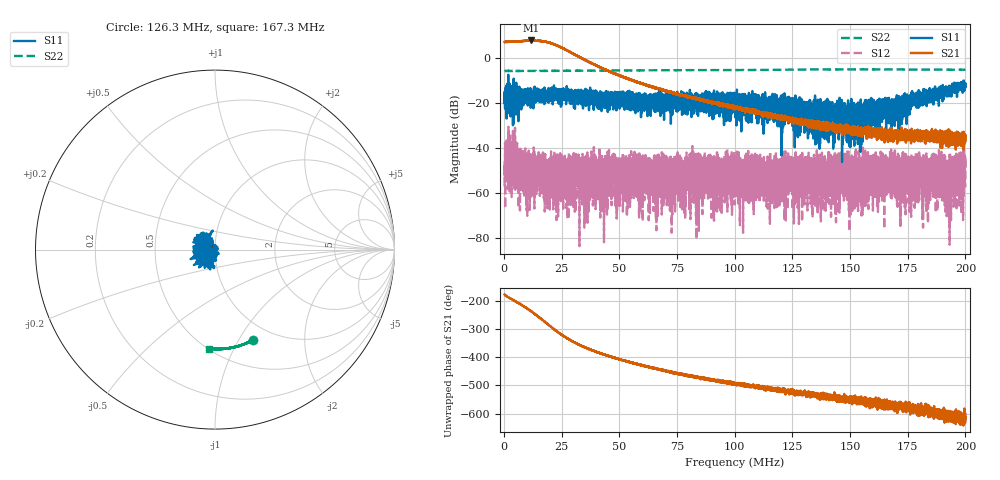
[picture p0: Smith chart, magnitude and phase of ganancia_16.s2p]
# Hz S DB R 50
! CMT, M5065, 19127446, 24.2.4/2
! Date: 11/8/2024 3:54:38 PM
! Data: Format (Calibration Info)
! Freq	S11:dB/Ang(F2)	S21:dB/Ang(F2)	S12:dB/Ang(F2)	S22:dB/Ang(F2)
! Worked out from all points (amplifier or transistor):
!   9000 points, 300 kHz to 200 MHz, reference 50 ohm
!   highest |S21| = 7.7 dB at 11.66 MHz (marker M1)
!   |S21| within 3 dB of that: start of sweep to 24.59 MHz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
!   unconditionally stable (mu >= 1): start of sweep to end of sweep
!   at 33.59 MHz: K = 450.69, MAG = 1.2 dB, |S12| = -61.7 dB
!   at 100.2 MHz: K = 2531.80, MAG = -20.9 dB, |S12| = -54.7 dB
!   at 200 MHz: K = 17656.88, MAG = -35.3 dB, |S12| = -57.4 dB
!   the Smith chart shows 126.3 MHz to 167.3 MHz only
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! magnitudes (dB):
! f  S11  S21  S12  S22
! 300 kHz  -17.4  7.0  -57.1  -5.8
! 1.299 MHz  -17.9  7.1  -43.7  -5.8
! 1.987 MHz  -15.0  7.1  -41.9  -5.8
! 11.66 MHz  -17.0  7.7  -58.6  -5.8
! 33.59 MHz  -20.7  -0.1  -61.7  -5.7
! 66.87 MHz  -16.1  -13.7  -51.4  -5.5
! 75.44 MHz  -17.9  -16.4  -56.8  -5.5
! 77.46 MHz  -19.9  -16.6  -67.3  -5.5
! 79.37 MHz  -19.3  -17.3  -52.8  -5.5
! 88.56 MHz  -20.1  -19.6  -51.5  -5.5
! 90.84 MHz  -18.4  -19.8  -66.6  -5.5
! 100.2 MHz  -21.9  -22.4  -54.7  -5.4
! 133.4 MHz  -21.7  -30.1  -56.2  -5.2
! 155 MHz  -31.0  -33.6  -49.1  -5.1
! 157.1 MHz  -19.4  -33.1  -52.8  -5.1
! 166.7 MHz  -23.0  -33.2  -50.2  -5.2
! 180 MHz  -18.7  -32.7  -50.5  -5.2
! 183.9 MHz  -16.0  -34.0  -64.7  -5.2
! 188.9 MHz  -14.5  -35.4  -52.7  -5.3
! 192.9 MHz  -12.4  -34.0  -47.1  -5.3
! 197.8 MHz  -11.5  -38.5  -52.2  -5.3
! 200 MHz  -12.8  -37.0  -57.4  -5.3
